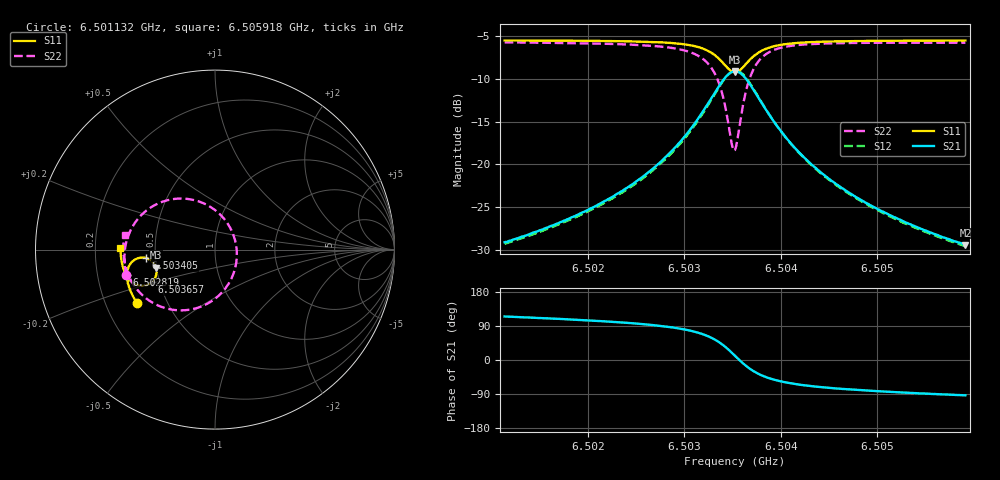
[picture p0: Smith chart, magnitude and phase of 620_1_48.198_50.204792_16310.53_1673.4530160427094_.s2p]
#  HZ  S  RI  R  50.00
! Rohde & Schwarz Vector Network Analyzer
! Rohde-Schwarz,ZNB20-2Port,1311601062101988,3.16
! Created: UTC 3/20/2024, 12:03:52 PM
! freq[Hz]  re:S11  im:S11  re:S21  im:S21  re:S12  im:S12  re:S22  im:S22
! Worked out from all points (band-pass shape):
!   401 points, 6.501132 GHz to 6.505918 GHz, reference 50 ohm
!   highest |S21| = -9.15 dB at 6.503525 GHz (marker M1); lowest = -29.4 dB at 6.505918 GHz (marker M2)
!   |S21| within 3 dB of the highest: 6.503287 GHz to 6.503764 GHz (477.5 kHz wide, 0.00734 % of centre)
!   lowest |S11| = -9.3 dB at 6.503525 GHz (marker M3), VSWR 2.05, Z = 24.8 - j5.63 ohm
!   |S11| at or under -10 dB: nowhere
!   |S22| runs from -18.4 to -5.8 dB; largest |S21 - S12| = 0.012
!   S11 on the Smith chart (normalised r, x): 6.501132 GHz: 0.34, -0.28; 6.502819 GHz: 0.33, -0.13; 6.503405 GHz: 0.44, -0.05; 6.503657 GHz: 0.45, -0.19; 6.505918 GHz: 0.31, +0.01
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6.5011319e9  -0.4348 -0.2977  -0.0148 0.032  -0.013 0.032  -0.4942 -0.1393
6.5019336e9  -0.4681 -0.2368  -0.014 0.0505  -0.0114 0.05  -0.5047 -0.0512
6.5023764e9  -0.4828 -0.1963  -0.0105 0.0708  -0.00746 0.0697  -0.4997 0.0147
6.5027354e9  -0.4905 -0.1549  -0.000849 0.1014  0.00285 0.0992  -0.4781 0.0908
6.5028191e9  -0.491 -0.1433  0.004 0.1123  0.00781 0.1094  -0.4673 0.1138
6.5030226e9  -0.4861 -0.1092  0.0274 0.1477  0.0312 0.1433  -0.4191 0.1831
6.5031662e9  -0.4714 -0.0791  0.0657 0.182  0.0688 0.176  -0.3445 0.243
6.5033098e9  -0.4322 -0.0493  0.1496 0.2114  0.1504 0.205  -0.1917 0.2845
6.5033576e9  -0.4103 -0.0444  0.1934 0.2099  0.1935 0.2042  -0.115 0.2755
6.5034055e9  -0.3843 -0.0468  0.2437 0.1943  0.2438 0.1896  -0.029 0.2401
6.5034893e9  -0.34 -0.0772  0.3241 0.1174  0.327 0.1133  0.0999 0.0887
6.5035252e9  -0.3288 -0.1  0.3422 0.067  0.3464 0.0615  0.1213 -0.0058
6.5035491e9  -0.3258 -0.117  0.3457 0.0314  0.3501 0.0244  0.1188 -0.0715
6.503585e9  -0.3281 -0.1419  0.3379 -0.0203  0.3421 -0.0296  0.0904 -0.1634
6.5036568e9  -0.3511 -0.1803  0.2895 -0.0989  0.2898 -0.1111  -0.0233 -0.2904
6.5037525e9  -0.3932 -0.2006  0.2088 -0.1431  0.2039 -0.154  -0.1882 -0.3384
6.5039081e9  -0.4437 -0.1932  0.1182 -0.1422  0.1108 -0.148  -0.3528 -0.2929
6.5040756e9  -0.4735 -0.1717  0.0689 -0.1205  0.0624 -0.1231  -0.4326 -0.2238
6.5043269e9  -0.4962 -0.1404  0.0353 -0.0929  0.0303 -0.0935  -0.4813 -0.1446
6.5046859e9  -0.5118 -0.1018  0.0155 -0.0682  0.0121 -0.0678  -0.5045 -0.0683
6.5051287e9  -0.5214 -0.0597  0.00536 -0.0506  0.0029 -0.0499  -0.5112 -0.0025
6.5059184e9  -0.5266 0.0078  -0.00192 -0.034  -0.00327 -0.0333  -0.5042 0.084
